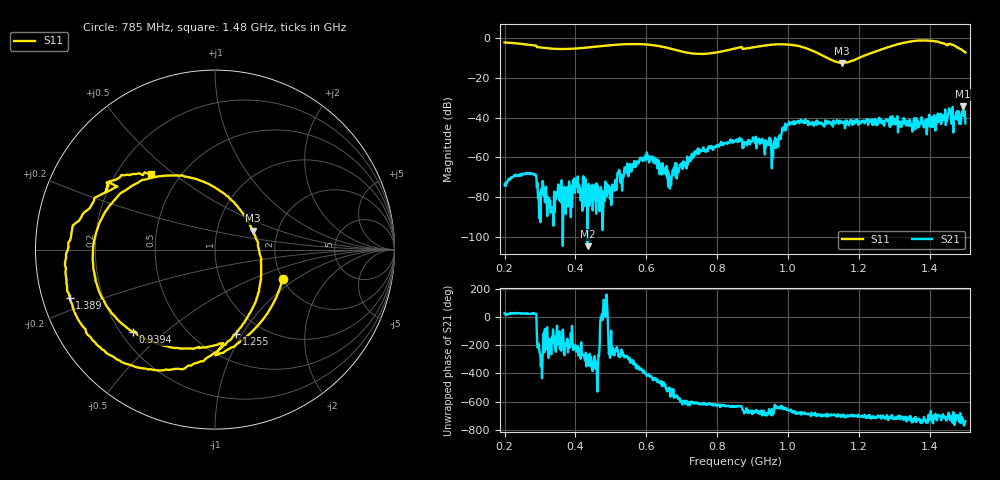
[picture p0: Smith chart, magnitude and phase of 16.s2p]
! NanoVNA-App
! Date: 2024-06-25 16:53:22
! Start: 200MHz Stop: 1.5GHz Points: 801
! S-Parameter data: F S11 S21 S12 S22
# Hz S RI R 50
!  Frequency  S11_Real  S11_Imag  S21_Real  S21_Imag  S12_Real  S12_Imag  S22_Real  S22_Imag
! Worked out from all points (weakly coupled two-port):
!   801 points, 200 MHz to 1.5 GHz, reference 50 ohm
!   highest |S21| = -34.32 dB at 1.494 GHz (marker M1); lowest = -104.6 dB at 434 MHz (marker M2)
!   lowest |S11| = -12.6 dB at 1.151 GHz (marker M3), VSWR 1.61, Z = 74.4 + j16.5 ohm
!   |S11| at or under -10 dB: 1.109 GHz to 1.202 GHz (92.7 MHz wide, 8.02 % of centre)
!   S12 and S22 are empty: the file has one direction only
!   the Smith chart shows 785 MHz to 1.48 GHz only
!   S11 on the Smith chart (normalised r, x): 785 MHz: 2.02, -0.79; 939.4 MHz: 0.25, -0.39; 1.255 GHz: 0.77, -0.94; 1.389 GHz: 0.08, -0.16; 1.48 GHz: 0.35, +0.42
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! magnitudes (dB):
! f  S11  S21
! 200 MHz  -2.4  -74.0
! 266.6 MHz  -3.5  -68.4
! 325.1 MHz  -5.3  -80.5
! 417.8 MHz  -5.1  -76.6
! 434 MHz  -4.9  -104.6
! 503.9 MHz  -3.7  -73.6
! 586.8 MHz  -3.2  -61.2
! 633.9 MHz  -4.1  -61.4
! 668 MHz  -5.5  -70.8
! 785 MHz  -7.7  -54.5
! 850 MHz  -5.4  -51.7
! 939.4 MHz  -3.8  -51.9
! 958.9 MHz  -3.4  -52.9
! 1.004 GHz  -3.5  -43.7
! 1.068 GHz  -6.4  -42.5
! 1.151 GHz  -12.6  -42.5
! 1.255 GHz  -6.3  -41.2
! 1.284 GHz  -4.6  -41.7
! 1.389 GHz  -1.4  -43.0
! 1.48 GHz  -5.2  -36.9
! 1.494 GHz  -6.4  -34.3
! 1.5 GHz  -7.4  -42.9
